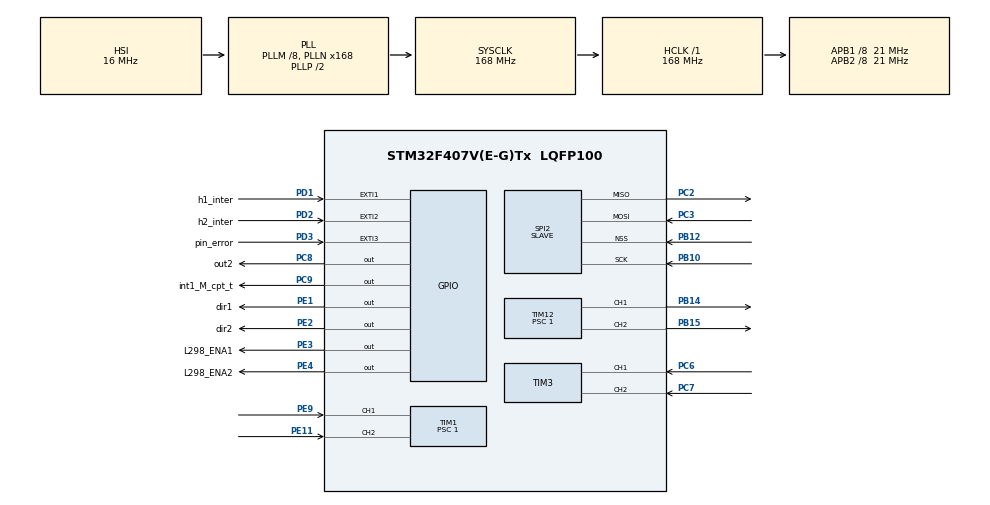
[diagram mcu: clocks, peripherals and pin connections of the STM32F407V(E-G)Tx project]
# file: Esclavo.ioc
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Mcu.Family=STM32F4
Mcu.Name=STM32F407V(E-G)Tx
Mcu.Package=LQFP100
NVIC.EXTI1_IRQn=true\:1\:0\:true\:false\:true\:true\:true
NVIC.EXTI2_IRQn=true\:1\:0\:true\:false\:true\:true\:true
NVIC.EXTI3_IRQn=true\:1\:0\:true\:false\:true\:true\:true
NVIC.PriorityGroup=NVIC_PRIORITYGROUP_1
NVIC.SPI2_IRQn=true\:1\:0\:true\:false\:true\:true\:true
NVIC.TIM1_BRK_TIM9_IRQn=true\:1\:0\:true\:false\:true\:true\:true
NVIC.TIM3_IRQn=true\:1\:0\:true\:false\:true\:true\:true
PB10.Mode=Full_Duplex_Slave
PB10.Signal=SPI2_SCK
PB12.Mode=NSS_Signal_Hard_Input
PB12.Signal=SPI2_NSS
PB14.Signal=S_TIM12_CH1
PB15.Signal=S_TIM12_CH2
PC2.Mode=Full_Duplex_Slave
PC2.Signal=SPI2_MISO
PC3.Mode=Full_Duplex_Slave
PC3.Signal=SPI2_MOSI
PC6.GPIO_PuPd=GPIO_PULLUP
PC6.GPIO_Speed=GPIO_SPEED_FREQ_HIGH
PC6.Signal=S_TIM3_CH1
PC7.GPIO_PuPd=GPIO_PULLUP
PC7.GPIO_Speed=GPIO_SPEED_FREQ_HIGH
PC7.Signal=S_TIM3_CH2
PC8.GPIO_Label=out2
PC8.GPIO_Speed=GPIO_SPEED_FREQ_LOW
PC8.PinState=GPIO_PIN_RESET
PC8.Signal=GPIO_Output
PC9.GPIO_Label=int1_M_cpt_t
PC9.GPIO_Speed=GPIO_SPEED_FREQ_LOW
PC9.PinState=GPIO_PIN_RESET
PC9.Signal=GPIO_Output
PD1.GPIO_Label=h1_inter
PD1.GPIO_PuPd=GPIO_PULLDOWN
PD1.Signal=GPXTI1
PD2.GPIO_Label=h2_inter
PD2.GPIO_PuPd=GPIO_PULLDOWN
PD2.Signal=GPXTI2
PD3.GPIO_Label=pin_error
PD3.GPIO_PuPd=GPIO_PULLDOWN
PD3.Signal=GPXTI3
PE1.GPIO_Label=dir1
PE1.GPIO_Speed=GPIO_SPEED_FREQ_LOW
PE1.PinState=GPIO_PIN_RESET
PE1.Signal=GPIO_Output
PE11.GPIO_PuPd=GPIO_PULLUP
PE11.GPIO_Speed=GPIO_SPEED_FREQ_HIGH
PE11.Signal=S_TIM1_CH2
PE2.GPIO_Label=dir2
PE2.GPIO_Speed=GPIO_SPEED_FREQ_LOW
PE2.PinState=GPIO_PIN_RESET
PE2.Signal=GPIO_Output
PE3.GPIO_Label=L298_ENA1
PE3.Signal=GPIO_Output
PE4.GPIO_Label=L298_ENA2
PE4.Signal=GPIO_Output
PE9.GPIO_PuPd=GPIO_PULLUP
PE9.GPIO_Speed=GPIO_SPEED_FREQ_HIGH
PE9.Signal=S_TIM1_CH1
ProjectManager.HeapSize=0x200
ProjectManager.StackSize=0x400
ProjectManager.TargetToolchain=STM32CubeIDE
RCC.48MHZClocksFreq_Value=48000000
RCC.AHBFreq_Value=168000000
RCC.APB1CLKDivider=RCC_HCLK_DIV8
RCC.APB1Freq_Value=21000000
RCC.APB1TimFreq_Value=42000000
RCC.APB2CLKDivider=RCC_HCLK_DIV8
RCC.APB2Freq_Value=21000000
RCC.APB2TimFreq_Value=42000000
RCC.CortexFreq_Value=168000000
RCC.HCLKFreq_Value=168000000
RCC.HSE_VALUE=8000000
RCC.HSI_VALUE=16000000
RCC.LSE_VALUE=32768
RCC.PLLM=8
RCC.PLLN=168
RCC.PLLQ=7
RCC.SYSCLKFreq_VALUE=168000000
RCC.SYSCLKSource=RCC_SYSCLKSOURCE_PLLCLK
RCC.VCOOutputFreq_Value=336000000
SH.S_TIM12_CH1.0=TIM12_CH1,PWM Generation1 CH1
SH.S_TIM12_CH2.0=TIM12_CH2,PWM Generation2 CH2
SH.S_TIM1_CH1.0=TIM1_CH1,Encoder_Interface
SH.S_TIM1_CH2.0=TIM1_CH2,Encoder_Interface
SH.S_TIM3_CH1.0=TIM3_CH1,Encoder_Interface
SH.S_TIM3_CH2.0=TIM3_CH2,Encoder_Interface
SPI2.Direction=SPI_DIRECTION_2LINES
SPI2.Mode=SPI_MODE_SLAVE
SPI2.VirtualNSS=VM_NSSHARD
SPI2.VirtualType=VM_SLAVE
TIM1.AutoReloadPreload=TIM_AUTORELOAD_PRELOAD_ENABLE
TIM1.CounterMode=TIM_COUNTERMODE_UP
TIM1.IC1Polarity=TIM_ICPOLARITY_RISING
TIM1.IC1Prescaler=TIM_ICPSC_DIV1
TIM1.IC2Polarity=TIM_ICPOLARITY_RISING
TIM1.IC2Prescaler=TIM_ICPSC_DIV1
TIM1.Period=65535
TIM1.Prescaler=1
TIM1.TIM_MasterOutputTrigger=TIM_TRGO_RESET
TIM1.TIM_MasterSlaveMode=TIM_MASTERSLAVEMODE_DISABLE
TIM12.Channel-PWM\ Generation1\ CH1=TIM_CHANNEL_1
TIM12.Channel-PWM\ Generation2\ CH2=TIM_CHANNEL_2
TIM12.Period=2799
TIM12.Prescaler=1
TIM3.AutoReloadPreload=TIM_AUTORELOAD_PRELOAD_ENABLE
TIM3.IC1Prescaler=TIM_ICPSC_DIV2
TIM3.IC2Prescaler=TIM_ICPSC_DIV2
TIM3.TIM_MasterOutputTrigger=TIM_TRGO_OC2REF
TIM3.TIM_MasterSlaveMode=TIM_MASTERSLAVEMODE_ENABLE
TIM9.Channel-Output\ Compare1\ No\ Output=TIM_CHANNEL_1
TIM9.Period=4199
TIM9.Prescaler=1
VP_TIM12_VS_ClockSourceINT.Mode=Internal
VP_TIM9_VS_ClockSourceINT.Mode=Internal
VP_TIM9_VS_no_output1.Mode=Output Compare1 No Output
board=STM32F407G-DISC1

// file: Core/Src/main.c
/* USER CODE BEGIN Header */
/**
 ******************************************************************************
 * @file           : main.c
 * @brief          : Main program body
 ******************************************************************************
 * @attention
 *
 * <h2><center>&copy; Copyright (c) 2020 STMicroelectronics.
 * All rights reserved.</center></h2>
 *
 * This software component is licensed by ST under Ultimate Liberty license
 * SLA0044, the "License"; You may not use this file except in compliance with
 * the License. You may obtain a copy of the License at:
 *                             www.st.com/SLA0044
 *
 ******************************************************************************
 */
/* USER CODE END Header */

#include "main.h"
#include "spi.h"
#include "tim.h"
#include "gpio.h"

/* USER CODE BEGIN Includes */
#include "IDENTIFICADOR.h"
#include "Interpolador.h"
#include <math.h>
/* USER CODE END Includes */

/* USER CODE BEGIN PV */
enum Estado {
	Activado, Desactivado, Modo_Homing, Modo_Normal, Error
};
typedef enum {
	M_error, M_listo, M_realizando
} Modos;
typedef struct {
	float p_obj;
	float p_act;
	float p_fin;
	float p_ini;
	float v_cru;
	float tau;
	float a_nes;
	float t_tot;
	float t_act;
	float kp, ki, kd;
	Modos modo;
} motor;

motor m1, m2;
enum Estado estado = Desactivado;
uint8_t dato_recepcion_SPI, pTxData = 0, cnt_lis;
uint8_t flag_mensaje_completo = 3, flag_cambio = 0, flag_cambio2 = 0,
		flag_activacion = 0, flag_homing = 0, flag_m1_listo = 0, flag_m2_listo =
				1;
uint32_t cont_samp = 0, cont_error = 0;
volatile int cont_datos_SPI = 0, contador_instrucciones = 0;
char str[50] = { 0 };
float error_M, error_ant_M = 0, Ui = 0, Ui_ant = 0, Up, Ud, UPID;
double error_pos = 0;

TIM_OC_InitTypeDef PWM_config = { 0 };
//Seteo de kp,ki,kd;
/* USER CODE END PV */

void SystemClock_Config(void);

int main(void)
{
  /* USER CODE BEGIN 1 */
	// Declarar variables
	int cant = 0;
	double instrucciones[50] = { };

	int comando;
	float Vmin;

	// init variables
	m1.p_ini = 0;
	PWM_config.OCMode = TIM_OCMODE_PWM1;
	PWM_config.Pulse = 0;
	PWM_config.OCPolarity = TIM_OCPOLARITY_HIGH;
	PWM_config.OCFastMode = TIM_OCFAST_DISABLE;
	flag_activacion = 0;
	flag_homing = 0;
	m1.kp = 280;
	m1.kd = m1.kp / 3896.96;
	m1.ki = m1.kp * 4.818;
	m2.modo = M_listo;
	m1.modo = M_listo;

  /* USER CODE END 1 */

  /* MCU Configuration--------------------------------------------------------*/

  /* Reset of all peripherals, Initializes the Flash interface and the Systick. */
  HAL_Init();

  /* Configure the system clock */
  SystemClock_Config();

  /* Initialize all configured peripherals */
  MX_GPIO_Init();
  MX_TIM1_Init();
  MX_TIM3_Init();
  MX_TIM9_Init();
  MX_TIM12_Init();
  MX_SPI2_Init();
  /* USER CODE BEGIN 2 */
	HAL_SPI_Receive_IT(&hspi2, &dato_recepcion_SPI, 1);
  /* USER CODE END 2 */

  /* Infinite loop */
  /* USER CODE BEGIN WHILE */
	while (1) {
		//Generar comando
		if (flag_mensaje_completo == 0) {
			cant = identificador(str, instrucciones, contador_instrucciones);
			flag_mensaje_completo = 1;
			contador_instrucciones = 0;
		}
		// identificar comandos
		if (flag_mensaje_completo == 1) {
			for (int i = 0; i < cant; i++) {
				comando = (int) instrucciones[i];
				switch (comando) {
				case Desactivar:
					//if (flag_activacion) {
						HAL_TIM_Base_Stop_IT(&htim9);
						HAL_GPIO_WritePin(L298_ENA1_GPIO_Port, L298_ENA1_Pin,
								GPIO_PIN_RESET);
						PWM_config.Pulse = 0;
						HAL_TIM_PWM_ConfigChannel(&htim12, &PWM_config,
						TIM_CHANNEL_1);
						HAL_GPIO_WritePin(dir1_GPIO_Port, dir1_Pin,
								GPIO_PIN_RESET);
						HAL_TIM_PWM_Stop(&htim12, TIM_CHANNEL_ALL);
						HAL_TIM_Encoder_Stop(&htim1, TIM_CHANNEL_ALL);
						estado = Desactivado;
						flag_activacion = 0;
						flag_homing = 0;
						flag_cambio = 1;

					//} else {
					//}
					break;
				case Activar:
					if (!flag_activacion) {
						estado = Activado;
						flag_activacion = 1;
						flag_cambio = 1;
						HAL_GPIO_WritePin(L298_ENA1_GPIO_Port, L298_ENA1_Pin,
								GPIO_PIN_SET);
						HAL_TIM_Encoder_Start(&htim1, TIM_CHANNEL_ALL);
					} else {
					}
					break;
				case Modo_homing:
					if (flag_activacion) {
						flag_cambio = 1;
						estado = Modo_Homing;
					}
					break;
				case Modo_ir:
					if (flag_activacion && flag_homing) {
						cont_samp = 0;
						m1.p_fin = instrucciones[i + 1];
						error_pos = (m1.p_fin - m1.p_ini) / m1.p_ini * 100;
						if (fabs(error_pos) > 0.001) {
							m1.t_tot = instrucciones[i + 3];
							Vmin = fabs(m1.p_fin - m1.p_ini) / m1.t_tot;
							if (VEL_MAX < Vmin) {
								estado = Error;
								i += 3;
								break;
								//No puede realizarse
								__NOP();

							} else if (VEL_MAX > (2 * Vmin)) {
								m1.v_cru = 1.5 * Vmin;
							} else if (VEL_MAX > Vmin
									&& VEL_MAX <= (2 * Vmin)) {
								m1.v_cru = VEL_MAX;
							}
							if ((m1.p_fin - m1.p_ini) < 0) {
								m1.v_cru *= -1;
							}
							m1.tau = (m1.p_ini - m1.p_fin + m1.v_cru * m1.t_tot)
									/ m1.v_cru;
							m1.a_nes =
									pow(m1.v_cru, 2)
											/ (m1.p_ini - m1.p_fin
													+ m1.v_cru * m1.t_tot);

							flag_cambio = 1;
						}
						estado = Modo_Normal;
						i += 3;
					}
					break;
				case error:
					//apagar todo
					flag_homing = 0;
					estado = Error;
					flag_activacion = 0;
					flag_cambio = 1;
					break;
				case Preguntar:
					HAL_SPI_Abort_IT(&hspi2);
					//Revisa el estado, interuumpe y guarada el estado en el puerto SP
					if (estado == Desactivado) {
						pTxData = 'D';
						HAL_SPI_Transmit_IT(&hspi2, &pTxData, 1);
					} else if (estado == Activado) {
						pTxData = 'A';
						HAL_SPI_Transmit_IT(&hspi2, &pTxData, 1);
					} else if (estado == Modo_Homing) {
						pTxData = 'H';
						HAL_SPI_Transmit_IT(&hspi2, &pTxData, 1);
					} else if (estado == Modo_Normal) {
						pTxData = 'N';
						HAL_SPI_Transmit_IT(&hspi2, &pTxData, 1);
					} else if (estado == Error) {
						pTxData = 'E';
						HAL_SPI_Transmit_IT(&hspi2, &pTxData, 1);
					}
					HAL_GPIO_WritePin(int1_M_cpt_t_GPIO_Port, int1_M_cpt_t_Pin,
							GPIO_PIN_SET);
					HAL_GPIO_WritePin(int1_M_cpt_t_GPIO_Port, int1_M_cpt_t_Pin,
							GPIO_PIN_RESET);
					__HAL_SPI_CLEAR_OVRFLAG(&hspi2);
					HAL_SPI_Receive_IT(&hspi2, &dato_recepcion_SPI, 1);
					break;
				case Estados:
					//Revisa el estado, interuumpe y guarada el estado en el puerto SP
					break;
				}

			}
			flag_mensaje_completo = 2;
			cant = 0;
		}

		switch (estado) {
		//en la maquina de estado hace la gestion de cada motor los cuales sus datos estan guardados en un struk
		case Desactivado:
			if (flag_cambio == 1) {
				flag_cambio = 0;
			}
			break;
		case Activado:
			if (flag_cambio == 1) {
				HAL_TIM_Encoder_Start(&htim1, TIM_CHANNEL_ALL);
				flag_cambio = 0;
			}
			break;
		case Modo_Homing:
			if (flag_cambio == 1) {
				m1.modo = M_realizando;
				HAL_GPIO_WritePin(dir1_GPIO_Port, dir1_Pin, GPIO_PIN_RESET);
				PWM_config.Pulse = 1200;
				HAL_TIM_PWM_ConfigChannel(&htim12, &PWM_config,
				TIM_CHANNEL_1);
				HAL_TIM_PWM_Start(&htim12, TIM_CHANNEL_1);
				flag_cambio = 0;
				m1.p_ini = 0;
			}
			if (m1.modo == M_listo && m2.modo == M_listo && flag_cambio2) {
				flag_cambio2 = 0;
				HAL_SPI_Abort_IT(&hspi2);
				pTxData = 'L';
				HAL_SPI_Transmit_IT(&hspi2, &pTxData, 1);
				HAL_GPIO_WritePin(int1_M_cpt_t_GPIO_Port, int1_M_cpt_t_Pin,
						GPIO_PIN_SET);
				HAL_GPIO_WritePin(int1_M_cpt_t_GPIO_Port, int1_M_cpt_t_Pin,
						GPIO_PIN_RESET);
				__HAL_SPI_CLEAR_OVRFLAG(&hspi2);
				HAL_SPI_Receive_IT(&hspi2, &dato_recepcion_SPI, 1);
			}
			break;
		case Modo_Normal:
			if (flag_cambio == 1) {
				m1.modo = M_realizando;
				Up = 0;
				UPID = 0;
				Ui = 0;
				Ud = 0;
				Ui_ant = 0;
				error_ant_M = 0;
				cnt_lis = 0;
				HAL_GPIO_WritePin(L298_ENA1_GPIO_Port, L298_ENA1_Pin,
						GPIO_PIN_RESET);
				HAL_GPIO_WritePin(dir1_GPIO_Port, dir1_Pin, GPIO_PIN_RESET);
				PWM_config.Pulse = 0;
				HAL_TIM_PWM_ConfigChannel(&htim12, &PWM_config, TIM_CHANNEL_1);
				HAL_TIM_PWM_Start(&htim12, TIM_CHANNEL_1);
				HAL_GPIO_WritePin(L298_ENA1_GPIO_Port, L298_ENA1_Pin,
						GPIO_PIN_SET);
				HAL_TIM_Base_Start_IT(&htim9);
				flag_cambio = 0;
			}
			if (m1.modo == M_listo && m2.modo == M_listo && flag_cambio2) {
				flag_cambio2 = 0;
				HAL_SPI_Abort_IT(&hspi2);
				pTxData = 'L';
				HAL_SPI_Transmit_IT(&hspi2, &pTxData, 1);
				HAL_GPIO_WritePin(int1_M_cpt_t_GPIO_Port, int1_M_cpt_t_Pin,
						GPIO_PIN_SET);
				HAL_GPIO_WritePin(int1_M_cpt_t_GPIO_Port, int1_M_cpt_t_Pin,
						GPIO_PIN_RESET);
				__HAL_SPI_CLEAR_OVRFLAG(&hspi2);
				HAL_SPI_Receive_IT(&hspi2, &dato_recepcion_SPI, 1);
			}
			break;
		case Error:
			Error_Handler();
			break;
		}

    /* USER CODE END WHILE */

	}
}

void SystemClock_Config(void)
{
  RCC_OscInitTypeDef RCC_OscInitStruct = {0};
  RCC_ClkInitTypeDef RCC_ClkInitStruct = {0};

  /** Configure the main internal regulator output voltage
  */
  __HAL_RCC_PWR_CLK_ENABLE();
  __HAL_PWR_VOLTAGESCALING_CONFIG(PWR_REGULATOR_VOLTAGE_SCALE1);
  /** Initializes the CPU, AHB and APB busses clocks
  */
  RCC_OscInitStruct.OscillatorType = RCC_OSCILLATORTYPE_HSI;
  RCC_OscInitStruct.HSIState = RCC_HSI_ON;
  RCC_OscInitStruct.HSICalibrationValue = RCC_HSICALIBRATION_DEFAULT;
  RCC_OscInitStruct.PLL.PLLState = RCC_PLL_ON;
  RCC_OscInitStruct.PLL.PLLSource = RCC_PLLSOURCE_HSI;
  RCC_OscInitStruct.PLL.PLLM = 8;
  RCC_OscInitStruct.PLL.PLLN = 168;
  RCC_OscInitStruct.PLL.PLLP = RCC_PLLP_DIV2;
  RCC_OscInitStruct.PLL.PLLQ = 7;
  if (HAL_RCC_OscConfig(&RCC_OscInitStruct) != HAL_OK)
  {
    Error_Handler();
  }
  /** Initializes the CPU, AHB and APB busses clocks
  */
  RCC_ClkInitStruct.ClockType = RCC_CLOCKTYPE_HCLK|RCC_CLOCKTYPE_SYSCLK
                              |RCC_CLOCKTYPE_PCLK1|RCC_CLOCKTYPE_PCLK2;
  RCC_ClkInitStruct.SYSCLKSource = RCC_SYSCLKSOURCE_PLLCLK;
  RCC_ClkInitStruct.AHBCLKDivider = RCC_SYSCLK_DIV1;
  RCC_ClkInitStruct.APB1CLKDivider = RCC_HCLK_DIV8;
  RCC_ClkInitStruct.APB2CLKDivider = RCC_HCLK_DIV8;

  if (HAL_RCC_ClockConfig(&RCC_ClkInitStruct, FLASH_LATENCY_5) != HAL_OK)
  {
    Error_Handler();
  }
}

/* USER CODE BEGIN 4 */
void HAL_SPI_RxCpltCallback(SPI_HandleTypeDef *hspi) {
	cont_datos_SPI++;
	str[cont_datos_SPI - 1] = dato_recepcion_SPI;
	if(str[cont_datos_SPI - 1]=='\0'){
		cont_datos_SPI--;
	}
	if (str[cont_datos_SPI - 1] == ':') {
		flag_mensaje_completo = 0;
		contador_instrucciones = cont_datos_SPI;
		cont_datos_SPI = 0;
	}
	HAL_SPI_Receive_IT(&hspi2, &dato_recepcion_SPI, 1);
}

void HAL_TIM_PeriodElapsedCallback(TIM_HandleTypeDef *htim) {
	if (htim->Instance == TIM1) {

	}
	if (htim->Instance == TIM3) {
	}
	if (htim->Instance == TIM9) {
		cont_samp++;
		m1.t_act = TIEMPO_SAMP * cont_samp;
		if (m1.t_act < m1.t_tot) {
			if (m1.t_act <= m1.tau) {
				m1.p_obj = (m1.p_ini + m1.a_nes * pow(m1.t_act, 2) / 2) * 600
						/ 2 / M_PI + 800;
			} else if (m1.t_act > m1.tau && m1.t_act <= (m1.t_tot - m1.tau)) {
				m1.p_obj = (m1.p_ini
						+ m1.a_nes * m1.tau * (m1.t_act - m1.tau / 2)) * 600 / 2
						/ M_PI + 800;
			} else if (m1.t_act > (m1.t_tot - m1.tau) && m1.t_act < m1.t_tot) {
				m1.p_obj = (m1.p_fin
						- m1.a_nes * pow(m1.t_tot - m1.t_act, 2) / 2) * 600 / 2
						/ M_PI + 800;
			}
			error_M = (m1.p_obj - m1.p_act);
		} else {
			error_M = (int) (m1.p_obj - m1.p_act);
			if (!error_M) {
				cnt_lis++;
			} else {
				cnt_lis = 0;
				cont_error++;
			}
			if (cnt_lis == 15) {
				HAL_TIM_Base_Stop_IT(&htim9);
				m1.p_ini = (m1.p_obj - 800) * 2 * M_PI / 600;
				PWM_config.Pulse = 0;
				HAL_TIM_PWM_ConfigChannel(&htim12, &PWM_config, TIM_CHANNEL_1);
				HAL_GPIO_WritePin(dir1_GPIO_Port, dir1_Pin, GPIO_PIN_RESET);
				HAL_TIM_PWM_Start(&htim12, TIM_CHANNEL_1);
				m1.modo = M_listo;
				flag_cambio2 = 1;
				cont_error = 0;
				cont_samp = 0;
				return;
			}
			if (cont_error > 100000) {
				HAL_TIM_Base_Stop_IT(&htim9);
				flag_cambio = 1;
				estado = Error;
				return;
			}
		}
		m1.p_act = TIM1->CNT;
		Up = m1.kp * error_M;
		Ui = Ui_ant + m1.ki * TIEMPO_SAMP * error_ant_M;
		Ud = m1.kd / TIEMPO_SAMP * (error_M - error_ant_M);
		UPID = Up + Ui + Ud;
		Ui_ant = Ui;
		error_ant_M = error_M;
		if (UPID > 0) {
			UPID += 400;
			if (UPID > 2799) {
				UPID = 2799;
			}
			PWM_config.Pulse = 2799 - UPID;
			HAL_TIM_PWM_ConfigChannel(&htim12, &PWM_config, TIM_CHANNEL_1);
			HAL_GPIO_WritePin(L298_ENA1_GPIO_Port, L298_ENA1_Pin,
					GPIO_PIN_RESET);
			HAL_GPIO_WritePin(dir1_GPIO_Port, dir1_Pin, GPIO_PIN_SET);
			HAL_TIM_PWM_Start(&htim12, TIM_CHANNEL_1);
			HAL_GPIO_WritePin(L298_ENA1_GPIO_Port, L298_ENA1_Pin, GPIO_PIN_SET);
		} else {
			UPID -= 400;
			if (UPID < -2799) {
				UPID = -2799;
			}
			PWM_config.Pulse = -UPID;

			HAL_TIM_PWM_ConfigChannel(&htim12, &PWM_config, TIM_CHANNEL_1);
			HAL_GPIO_WritePin(L298_ENA1_GPIO_Port, L298_ENA1_Pin,
					GPIO_PIN_RESET);
			HAL_GPIO_WritePin(dir1_GPIO_Port, dir1_Pin, GPIO_PIN_RESET);
			HAL_TIM_PWM_Start(&htim12, TIM_CHANNEL_1);
			HAL_GPIO_WritePin(L298_ENA1_GPIO_Port, L298_ENA1_Pin, GPIO_PIN_SET);
		}

	}
	if (htim->Instance == TIM12) {
	}
}
void HAL_GPIO_EXTI_Callback(uint16_t GPIO_Pin) {
	switch (GPIO_Pin) {
	case h1_inter_Pin:
		PWM_config.Pulse = 2799 - 900;
		HAL_TIM_PWM_ConfigChannel(&htim12, &PWM_config, TIM_CHANNEL_1);
		HAL_GPIO_WritePin(dir1_GPIO_Port, dir1_Pin, GPIO_PIN_SET);
		HAL_TIM_PWM_Start(&htim12, TIM_CHANNEL_1);
		while (HAL_GPIO_ReadPin(h1_inter_GPIO_Port, h1_inter_Pin)) {

		}
		PWM_config.Pulse = 0;
		HAL_TIM_PWM_ConfigChannel(&htim12, &PWM_config, TIM_CHANNEL_1);
		HAL_GPIO_WritePin(dir1_GPIO_Port, dir1_Pin, GPIO_PIN_RESET);
		HAL_TIM_PWM_Stop(&htim12, TIM_CHANNEL_1);
		HAL_Delay(1);
		htim1.Instance->CNT = 500;
		m1.p_ini = -M_PI;
		flag_homing = 1;
		m1.modo = M_listo;
		flag_cambio2 = 1;
		break;
	case h2_inter_Pin:
		break;
	case pin_error_Pin:
		estado = Error;
		break;
	}
}
/* USER CODE END 4 */

void Error_Handler(void)
{
  /* USER CODE BEGIN Error_Handler_Debug */
	/* User can add his own implementation to report the HAL error return state */
	HAL_NVIC_DisableIRQ(EXTI1_IRQn);
	HAL_NVIC_DisableIRQ(EXTI2_IRQn);
	HAL_TIM_Base_Stop_IT(&htim9);
	HAL_GPIO_WritePin(L298_ENA1_GPIO_Port, L298_ENA1_Pin, GPIO_PIN_RESET);
	PWM_config.Pulse = 0;
	HAL_TIM_PWM_ConfigChannel(&htim12, &PWM_config,
	TIM_CHANNEL_1);
	HAL_GPIO_WritePin(dir1_GPIO_Port, dir1_Pin, GPIO_PIN_RESET);
	HAL_TIM_PWM_Stop(&htim12, TIM_CHANNEL_ALL);
	HAL_TIM_Encoder_Stop(&htim1, TIM_CHANNEL_ALL);
	estado = Error;
	flag_activacion = 0;
	flag_homing = 0;
	flag_cambio = 0;
	HAL_SPI_Abort_IT(&hspi2);
	pTxData = 'E';
	HAL_SPI_Transmit_IT(&hspi2, &pTxData, 1);
	HAL_GPIO_WritePin(int1_M_cpt_t_GPIO_Port, int1_M_cpt_t_Pin, GPIO_PIN_SET);
	HAL_GPIO_WritePin(int1_M_cpt_t_GPIO_Port, int1_M_cpt_t_Pin, GPIO_PIN_RESET);
	__HAL_SPI_CLEAR_OVRFLAG(&hspi2);
	HAL_SPI_Receive_IT(&hspi2, &dato_recepcion_SPI, 1);
	HAL_SPI_Abort_IT(&hspi2);
	while (1)
		;
  /* USER CODE END Error_Handler_Debug */
}

/************************ (C) COPYRIGHT STMicroelectronics *****END OF FILE****/
